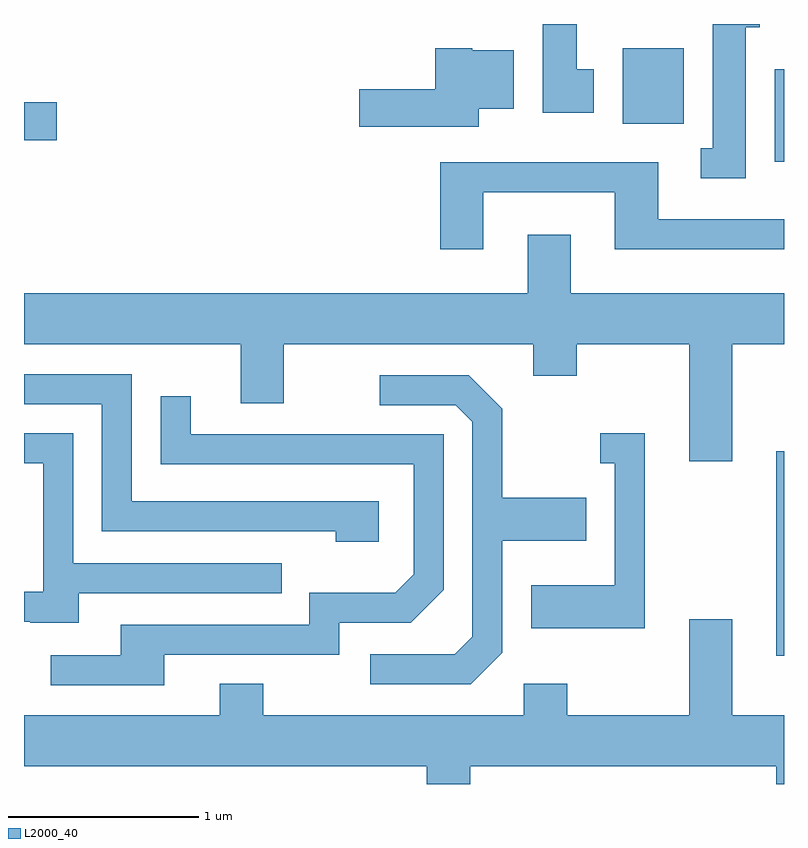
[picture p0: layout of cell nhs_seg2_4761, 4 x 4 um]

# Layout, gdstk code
import gdstk
lib = gdstk.Library(unit=1e-6, precision=1e-09)
def R(c, l, rs):  # rectangles x0, y0, x1, y1
    for r in rs: c.add(gdstk.rectangle(r[:2], r[2:], *l))
def P(c, l, *ps):  # polygons
    for p in ps: c.add(gdstk.Polygon(p, *l))
L2000_40 = (2000, 40)

nhs_seg2_4761 = lib.new_cell('nhs_seg2_4761')
R(nhs_seg2_4761, L2000_40, [(329.571,1024.476,329.611,1025.554), (329.561,1027.076,329.611,1027.564), (325.611,1027.191,325.784,1027.389), (328.761,1027.276,329.084,1027.674)])
P(nhs_seg2_4761, L2000_40, [(329.409,1027.786),(329.484,1027.786),(329.484,1027.802),(329.236,1027.802),(329.236,1027.149),(329.173,1027.149),(329.173,1026.991),(329.409,1026.991)],
  [(328.609,1027.564),(328.519,1027.564),(328.519,1027.802),(328.341,1027.802),(328.341,1027.336),(328.609,1027.336)],
  [(328.004,1027.356),(328.189,1027.356),(328.189,1027.664),(327.97,1027.664),(327.97,1027.674),(327.776,1027.674),(327.776,1027.459),(327.376,1027.459),(327.376,1027.261),(328.004,1027.261)],
  [(328.029,1026.916),(328.721,1026.916),(328.721,1026.616),(329.611,1026.616),(329.611,1026.774),(328.949,1026.774),(328.949,1027.074),(327.801,1027.074),(327.801,1026.616),(328.029,1026.616)],
  [(329.339,1026.116),(329.611,1026.116),(329.611,1026.384),(328.489,1026.384),(328.489,1026.694),(328.261,1026.694),(328.261,1026.384),(325.611,1026.384),(325.611,1026.116),(326.751,1026.116),(326.751,1025.806),(326.979,1025.806),(326.979,1026.116),(328.291,1026.116),(328.291,1025.951),(328.519,1025.951),(328.519,1026.116),(329.111,1026.116),(329.111,1025.501),(329.339,1025.501)],
  [(327.479,1025.289),(326.179,1025.289),(326.179,1025.959),(325.611,1025.959),(325.611,1025.801),(326.021,1025.801),(326.021,1025.131),(327.251,1025.131),(327.251,1025.076),(327.479,1025.076)],
  [(328.129,1024.494),(328.129,1025.081),(328.569,1025.081),(328.569,1025.309),(328.129,1025.309),(328.129,1025.777),(327.952,1025.954),(327.483,1025.954),(327.483,1025.796),(327.884,1025.796),(327.971,1025.709),(327.971,1024.577),(327.879,1024.484),(327.433,1024.484),(327.433,1024.326),(327.962,1024.326)],
  [(326.349,1024.481),(327.269,1024.481),(327.269,1024.651),(327.647,1024.651),(327.819,1024.824),(327.819,1025.644),(326.489,1025.644),(326.489,1025.843),(326.331,1025.843),(326.331,1025.486),(327.661,1025.486),(327.661,1024.907),(327.564,1024.809),(327.111,1024.809),(327.111,1024.639),(326.121,1024.639),(326.121,1024.479),(325.753,1024.479),(325.753,1024.321),(326.349,1024.321)],
  [(328.879,1025.649),(328.643,1025.649),(328.643,1025.491),(328.721,1025.491),(328.721,1024.849),(328.281,1024.849),(328.281,1024.621),(328.879,1024.621)],
  [(325.899,1024.806),(326.968,1024.806),(326.968,1024.964),(325.869,1024.964),(325.869,1025.649),(325.611,1025.649),(325.611,1025.491),(325.711,1025.491),(325.711,1024.814),(325.611,1024.814),(325.611,1024.656),(325.645,1024.656),(325.645,1024.651),(325.899,1024.651)],
  [(327.959,1023.896),(329.571,1023.896),(329.571,1023.802),(329.611,1023.802),(329.611,1024.164),(329.339,1024.164),(329.339,1024.669),(329.111,1024.669),(329.111,1024.164),(328.469,1024.164),(328.469,1024.329),(328.241,1024.329),(328.241,1024.164),(326.869,1024.164),(326.869,1024.329),(326.641,1024.329),(326.641,1024.164),(325.611,1024.164),(325.611,1023.896),(327.731,1023.896),(327.731,1023.802),(327.959,1023.802)])

lib.write_gds('nhs_seg2_4761.gds')
